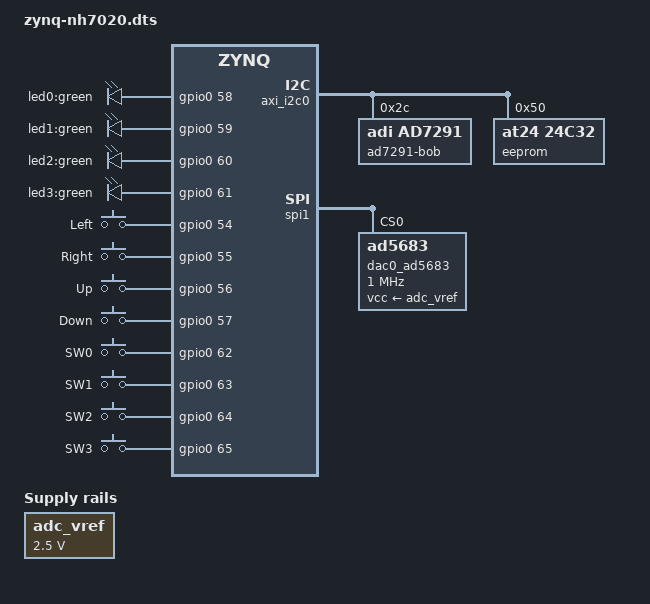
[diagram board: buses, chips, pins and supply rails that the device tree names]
/dts-v1/;
#include "zynq-nh7020.dtsi"


&axi_i2c0 {
	ad7291-bob@2C {
		compatible = "adi,ad7291";
		reg = <0x2c>;
	};

	eeprom@50 {
		compatible = "at24,24c32";
		reg = <0x50>;
	};
};

/ {

	adc_vref: fixedregulator@0 {
	        compatible = "regulator-fixed";
		regulator-name = "fixed-supply";
		regulator-min-microvolt = <2500000>;
		regulator-max-microvolt = <2500000>;
		regulator-boot-on;
	};

	leds {
		compatible = "gpio-leds";
		led0 {
			label = "led0:green";
			gpios = <&gpio0 58 0>;
		};

		led1 {
			label = "led1:green";
			gpios = <&gpio0 59 0>;
		};

		led2 {
			label = "led2:green";
			gpios = <&gpio0 60 0>;
		};

		led3 {
			label = "led3:green";
			gpios = <&gpio0 61 0>;
		};
	};

	gpio_keys {
		compatible = "gpio-keys";
		#address-cells = <1>;
		#size-cells = <0>;
		autorepeat;

		pb0 {
			label = "Left";
			linux,code = <105>;
			gpios = <&gpio0 54 0>;
		};

		pb1 {
			label = "Right";
			linux,code = <106>;
			gpios = <&gpio0 55 0>;
		};

		pb2 {
			label = "Up";
			linux,code = <103>;
			gpios = <&gpio0 56 0>;
		};

		pb3 {
			label = "Down";
			linux,code = <108>;
			gpios = <&gpio0 57 0>;
		};

		sw0 {
			label = "SW0";
			linux,input-type = <5>;
			linux,code = <0>;
			gpios = <&gpio0 62 0>;
		};

		sw1 {
			label = "SW1";
			linux,input-type = <5>;
			linux,code = <1>;
			gpios = <&gpio0 63 0>;
		};

		sw2 {
			label = "SW2";
			linux,input-type = <5>;
			linux,code = <2>;
			gpios = <&gpio0 64 0>;
		};

		sw3 {
			label = "SW3";
			linux,input-type = <5>;
			linux,code = <3>;
			gpios = <&gpio0 65 0>;
		};
	};
};

&spi1 {
	status = "okay";

	dac0_ad5683: ad5683-phy@0 {
		#address-cells = <1>;
		#size-cells = <0>;

		compatible = "ad5683";
		reg = <0>;
		spi-max-frequency = <1000000>;
		spi-cpha;
		vcc-supply = <&adc_vref>;
	};
};


